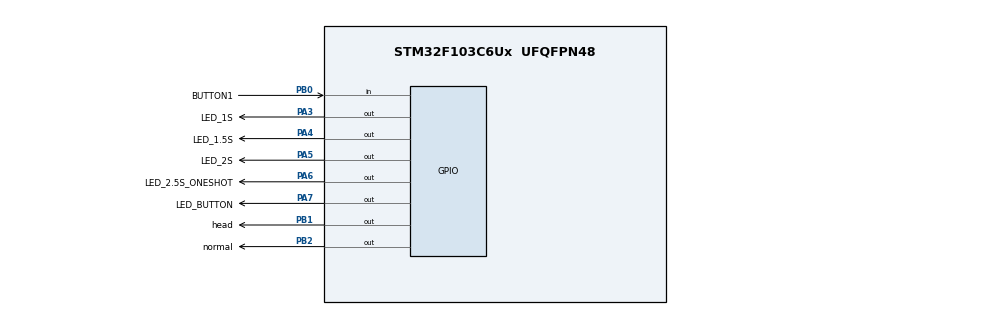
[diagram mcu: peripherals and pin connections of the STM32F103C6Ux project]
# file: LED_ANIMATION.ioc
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Mcu.Family=STM32F1
Mcu.Name=STM32F103C6Ux
Mcu.Package=UFQFPN48
NVIC.PriorityGroup=NVIC_PRIORITYGROUP_4
NVIC.TIM2_IRQn=true\:0\:0\:false\:false\:true\:true\:true
PA3.GPIO_Label=LED_1S
PA3.Signal=GPIO_Output
PA4.GPIO_Label=LED_1.5S
PA4.Signal=GPIO_Output
PA5.GPIO_Label=LED_2S
PA5.Signal=GPIO_Output
PA6.GPIO_Label=LED_2.5S_ONESHOT
PA6.Signal=GPIO_Output
PA7.GPIO_Label=LED_BUTTON
PA7.Signal=GPIO_Output
PB0.GPIO_Label=BUTTON1
PB0.GPIO_PuPd=GPIO_PULLUP
PB0.Signal=GPIO_Input
PB1.GPIO_Label=head
PB1.Signal=GPIO_Output
PB2.GPIO_Label=normal
PB2.Signal=GPIO_Output
ProjectManager.HeapSize=0x200
ProjectManager.StackSize=0x400
ProjectManager.TargetToolchain=STM32CubeIDE
RCC.APB1Freq_Value=8000000
RCC.APB2Freq_Value=8000000
TIM2.Period=9
TIM2.Prescaler=7999
VP_SYS_VS_ND.Mode=No_Debug
VP_TIM2_VS_ClockSourceINT.Mode=Internal
board=custom

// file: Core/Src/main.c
/* USER CODE BEGIN Header */
/**
  ******************************************************************************
  * @file           : main.c
  * @brief          : Main program body
  ******************************************************************************
  * @attention
  *
  * <h2><center>&copy; Copyright (c) 2023 STMicroelectronics.
  * All rights reserved.</center></h2>
  *
  * This software component is licensed by ST under BSD 3-Clause license,
  * the "License"; You may not use this file except in compliance with the
  * License. You may obtain a copy of the License at:
  *                        opensource.org/licenses/BSD-3-Clause
  *
  ******************************************************************************
  */
/* USER CODE END Header */
#include "main.h"

/* USER CODE BEGIN Includes */
//#include "input_reading.h"
#include "scheduler.h"
#include "button.h"
//#include "global.h"
/* USER CODE END Includes */

TIM_HandleTypeDef htim2;

void SystemClock_Config(void);
static void MX_GPIO_Init(void);
static void MX_TIM2_Init(void);

/* USER CODE BEGIN 0 */
void button(){
	getKeyInput();
	if(is_Pressed()){
		HAL_GPIO_TogglePin(GPIOA, LED_BUTTON_Pin);
	}
}

void led0_5s(){
	HAL_GPIO_TogglePin(GPIOB, normal_Pin);
}

void led1s(){
	HAL_GPIO_TogglePin(GPIOA, LED_1S_Pin);
}

void led1_5s(){
	HAL_GPIO_TogglePin(GPIOA, LED_1_5S_Pin);
}

void led2s(){
	HAL_GPIO_TogglePin(GPIOA, LED_2S_Pin);
}

void led2_5s(){
	HAL_GPIO_WritePin(GPIOA, LED_2_5S_ONESHOT_Pin, 0);
}
/* USER CODE END 0 */

int main(void)
{

  /* MCU Configuration--------------------------------------------------------*/

  /* Reset of all peripherals, Initializes the Flash interface and the Systick. */
  HAL_Init();

  /* Configure the system clock */
  SystemClock_Config();

  /* Initialize all configured peripherals */
  MX_GPIO_Init();
  MX_TIM2_Init();
  /* USER CODE BEGIN 2 */
  HAL_TIM_Base_Start_IT(&htim2);
  /* USER CODE END 2 */

  /* Infinite loop */
  /* USER CODE BEGIN WHILE */
  HAL_GPIO_WritePin(GPIOA, LED_1S_Pin, 1);
  HAL_GPIO_WritePin(GPIOA, LED_1_5S_Pin, 1);
  HAL_GPIO_WritePin(GPIOA, LED_2S_Pin, 1);
  HAL_GPIO_WritePin(GPIOA, LED_2_5S_ONESHOT_Pin, 1);
  HAL_GPIO_WritePin(GPIOA, LED_BUTTON_Pin, 1);
  HAL_GPIO_WritePin(GPIOB, normal_Pin, 1); // PIN FOR LED 0.5S
//  HAL_GPIO_WritePin(GPIOB, head_Pin, 1);

  SCH_Add_Task(button, 0, 3);
  SCH_Add_Task(led0_5s, 0.5 * SEC_TO_MILISEC / TICK, 0.5 * SEC_TO_MILISEC / TICK);
  SCH_Add_Task(led1s, 1 * SEC_TO_MILISEC / TICK, 1 * SEC_TO_MILISEC / TICK);
  SCH_Add_Task(led1_5s, 1.5 * SEC_TO_MILISEC / TICK, 1.5 * SEC_TO_MILISEC / TICK);
  SCH_Add_Task(led2s, 2 * SEC_TO_MILISEC / TICK, 2 * SEC_TO_MILISEC / TICK);
  SCH_Add_Task(led2_5s, 2.5 * SEC_TO_MILISEC / TICK, 0);

  while (1){
	  SCH_Dispatch_Tasks();

    /* USER CODE END WHILE */

  }
}

void SystemClock_Config(void)
{
  RCC_OscInitTypeDef RCC_OscInitStruct = {0};
  RCC_ClkInitTypeDef RCC_ClkInitStruct = {0};

  /** Initializes the RCC Oscillators according to the specified parameters
  * in the RCC_OscInitTypeDef structure.
  */
  RCC_OscInitStruct.OscillatorType = RCC_OSCILLATORTYPE_HSI;
  RCC_OscInitStruct.HSIState = RCC_HSI_ON;
  RCC_OscInitStruct.HSICalibrationValue = RCC_HSICALIBRATION_DEFAULT;
  RCC_OscInitStruct.PLL.PLLState = RCC_PLL_NONE;
  if (HAL_RCC_OscConfig(&RCC_OscInitStruct) != HAL_OK)
  {
    Error_Handler();
  }
  /** Initializes the CPU, AHB and APB buses clocks
  */
  RCC_ClkInitStruct.ClockType = RCC_CLOCKTYPE_HCLK|RCC_CLOCKTYPE_SYSCLK
                              |RCC_CLOCKTYPE_PCLK1|RCC_CLOCKTYPE_PCLK2;
  RCC_ClkInitStruct.SYSCLKSource = RCC_SYSCLKSOURCE_HSI;
  RCC_ClkInitStruct.AHBCLKDivider = RCC_SYSCLK_DIV1;
  RCC_ClkInitStruct.APB1CLKDivider = RCC_HCLK_DIV1;
  RCC_ClkInitStruct.APB2CLKDivider = RCC_HCLK_DIV1;

  if (HAL_RCC_ClockConfig(&RCC_ClkInitStruct, FLASH_LATENCY_0) != HAL_OK)
  {
    Error_Handler();
  }
}

static void MX_TIM2_Init(void)
{

  TIM_ClockConfigTypeDef sClockSourceConfig = {0};
  TIM_MasterConfigTypeDef sMasterConfig = {0};

  htim2.Instance = TIM2;
  htim2.Init.Prescaler = 7999;
  htim2.Init.CounterMode = TIM_COUNTERMODE_UP;
  htim2.Init.Period = 9;
  htim2.Init.ClockDivision = TIM_CLOCKDIVISION_DIV1;
  htim2.Init.AutoReloadPreload = TIM_AUTORELOAD_PRELOAD_DISABLE;
  if (HAL_TIM_Base_Init(&htim2) != HAL_OK)
  {
    Error_Handler();
  }
  sClockSourceConfig.ClockSource = TIM_CLOCKSOURCE_INTERNAL;
  if (HAL_TIM_ConfigClockSource(&htim2, &sClockSourceConfig) != HAL_OK)
  {
    Error_Handler();
  }
  sMasterConfig.MasterOutputTrigger = TIM_TRGO_RESET;
  sMasterConfig.MasterSlaveMode = TIM_MASTERSLAVEMODE_DISABLE;
  if (HAL_TIMEx_MasterConfigSynchronization(&htim2, &sMasterConfig) != HAL_OK)
  {
    Error_Handler();
  }

}

static void MX_GPIO_Init(void)
{
  GPIO_InitTypeDef GPIO_InitStruct = {0};

  /* GPIO Ports Clock Enable */
  __HAL_RCC_GPIOA_CLK_ENABLE();
  __HAL_RCC_GPIOB_CLK_ENABLE();

  /*Configure GPIO pin Output Level */
  HAL_GPIO_WritePin(GPIOA, LED_1S_Pin|LED_1_5S_Pin|LED_2S_Pin|LED_2_5S_ONESHOT_Pin
                          |LED_BUTTON_Pin, GPIO_PIN_RESET);

  /*Configure GPIO pin Output Level */
  HAL_GPIO_WritePin(GPIOB, head_Pin|normal_Pin, GPIO_PIN_RESET);

  /*Configure GPIO pins : LED_1S_Pin LED_1_5S_Pin LED_2S_Pin LED_2_5S_ONESHOT_Pin
                           LED_BUTTON_Pin */
  GPIO_InitStruct.Pin = LED_1S_Pin|LED_1_5S_Pin|LED_2S_Pin|LED_2_5S_ONESHOT_Pin
                          |LED_BUTTON_Pin;
  GPIO_InitStruct.Mode = GPIO_MODE_OUTPUT_PP;
  GPIO_InitStruct.Pull = GPIO_NOPULL;
  GPIO_InitStruct.Speed = GPIO_SPEED_FREQ_LOW;
  HAL_GPIO_Init(GPIOA, &GPIO_InitStruct);

  /*Configure GPIO pin : BUTTON1_Pin */
  GPIO_InitStruct.Pin = BUTTON1_Pin;
  GPIO_InitStruct.Mode = GPIO_MODE_INPUT;
  GPIO_InitStruct.Pull = GPIO_PULLUP;
  HAL_GPIO_Init(BUTTON1_GPIO_Port, &GPIO_InitStruct);

  /*Configure GPIO pins : head_Pin normal_Pin */
  GPIO_InitStruct.Pin = head_Pin|normal_Pin;
  GPIO_InitStruct.Mode = GPIO_MODE_OUTPUT_PP;
  GPIO_InitStruct.Pull = GPIO_NOPULL;
  GPIO_InitStruct.Speed = GPIO_SPEED_FREQ_LOW;
  HAL_GPIO_Init(GPIOB, &GPIO_InitStruct);

}

/* USER CODE BEGIN 4 */
//  int counter = 100;
//  void HAL_TIM_PeriodElapsedCallback(TIM_HandleTypeDef *htim){
//	  --counter;
//	  if(counter <= 0){
//		  counter = 100;
//		  HAL_GPIO_TogglePin(GPIOA, R1_RED_Pin);
//	  }
//  }

void HAL_TIM_PeriodElapsedCallback(TIM_HandleTypeDef *htim){
	if(htim->Instance == htim2.Instance) SCH_Update();
//	timerRun(0);
//	timerRun(1);
//	timerRun(2);
//	getKeyInput(BUTTON1, BUTTON1_Pin);
//	getKeyInput(BUTTON2, BUTTON2_Pin);
//	getKeyInput(BUTTON3, BUTTON3_Pin);
	//if(htim->Instance == TIM2) {
	//		  button_reading () ;
	//}
	//	  timerRun(LED);
	//	  timerRun(SEG);
	//	  timerRun(MATRIX);
}

/* USER CODE END 4 */

void Error_Handler(void)
{
  __disable_irq();
  while (1)
  {
  }
}

/************************ (C) COPYRIGHT STMicroelectronics *****END OF FILE****/
